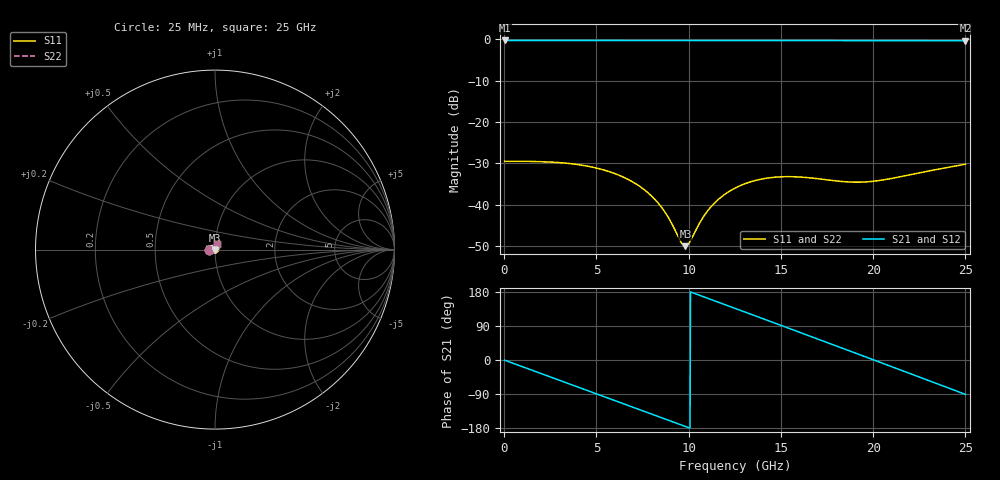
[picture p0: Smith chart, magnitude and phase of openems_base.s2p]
! thru_R_s4_L1: 2×thru, L1, 8 mm
! stackup: 4-layer 1.6 mm FR-4
! ports: 1, 2
! openEMS 0.37.0, staircase, base mesh (dfine 0.07 mm), 145860 cells
# Hz S RI R 50
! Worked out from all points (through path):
!   1000 points, 25 MHz to 25 GHz, reference 50 ohm
!   highest |S21| = -0.30 dB at 25 MHz (marker M1); lowest = -0.4 dB at 25 GHz (marker M2)
!   group delay of S21, straight-line fit = 50 ps
!   lowest |S11| = -50.0 dB at 9.825 GHz (marker M3), VSWR 1.01, Z = 50.1 - j0.289 ohm
!   |S11| at or under -10 dB: start of sweep to end of sweep
!   |S22| runs from -50.0 to -29.5 dB; largest |S21 - S12| = 0
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2.5e7  -0.0335 0.000174  0.9662 -0.00752  0.9662 -0.00752  -0.0335 0.000174
1.95e9  -0.0302 0.0136  0.7938 -0.5507  0.7938 -0.5507  -0.0302 0.0136
3.125e9  -0.0244 0.0209  0.5445 -0.7981  0.5445 -0.7981  -0.0244 0.0209
4.2e9  -0.0163 0.0253  0.2521 -0.9325  0.2521 -0.9325  -0.0163 0.0253
5.2e9  -0.00745 0.026  -0.0458 -0.9648  -0.0458 -0.9648  -0.00745 0.026
6.2e9  0.00101 0.0228  -0.3394 -0.904  -0.3394 -0.904  0.00101 0.0228
7.4e9  0.00762 0.0145  -0.6462 -0.7171  -0.6462 -0.7171  0.00762 0.0145
8.35e9  0.00831 0.00637  -0.8273 -0.4968  -0.8273 -0.4968  0.00831 0.00637
9.825e9  0.00129 -0.00288  -0.9615 -0.0769  -0.9615 -0.0769  0.00129 -0.00288
1.12e10  -0.00907 -0.00238  -0.9056 0.3312  -0.9056 0.3312  -0.00907 -0.00238
1.2525e10  -0.0145 0.00653  -0.6946 0.6684  -0.6946 0.6684  -0.0145 0.00653
1.36e10  -0.0118 0.0156  -0.4337 0.8606  -0.4337 0.8606  -0.0118 0.0156
1.4625e10  -0.00335 0.0212  -0.1384 0.9534  -0.1384 0.9534  -0.00335 0.0212
1.565e10  0.00778 0.0204  0.1715 0.9476  0.1715 0.9476  0.00778 0.0204
1.6675e10  0.0169 0.0125  0.4639 0.8433  0.4639 0.8433  0.0169 0.0125
1.7825e10  0.0195 -0.00171  0.7332 0.6225  0.7332 0.6225  0.0195 -0.00171
1.885e10  0.013 -0.0135  0.893 0.3556  0.893 0.3556  0.013 -0.0135
1.985e10  0.000513 -0.019  0.9588 0.059  0.9588 0.059  0.000513 -0.019
2.085e10  -0.0132 -0.0156  0.9286 -0.2437  0.9286 -0.2437  -0.0132 -0.0156
2.1925e10  -0.0227 -0.00277  0.7923 -0.5412  0.7923 -0.5412  -0.0227 -0.00277
2.31e10  -0.0204 0.0158  0.5384 -0.7935  0.5384 -0.7935  -0.0204 0.0158
2.5e10  0.0094 0.0294  -0.0124 -0.9579  -0.0124 -0.9579  0.0094 0.0294
